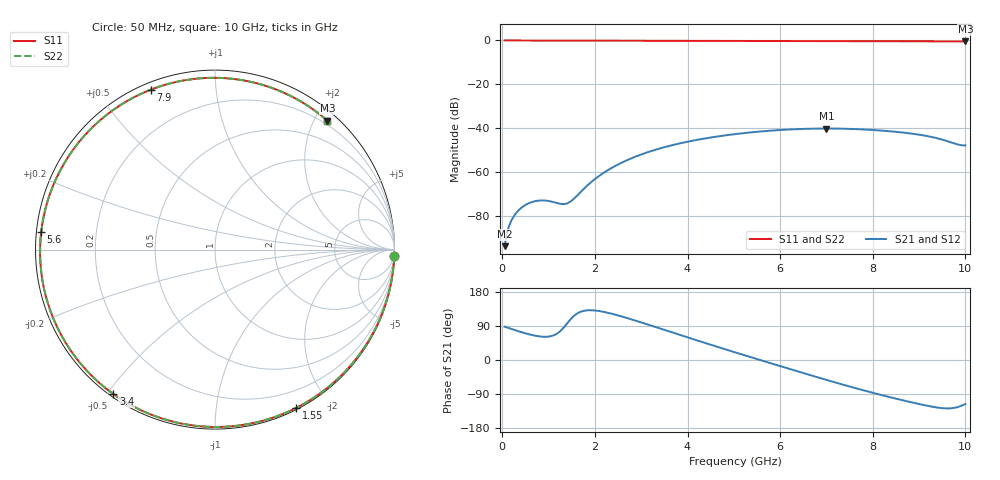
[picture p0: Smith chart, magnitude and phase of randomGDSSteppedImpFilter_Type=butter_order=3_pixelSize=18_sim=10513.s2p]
! freq	dB(S11)	phase(S11)	dB(S12)	phase(S12)
!  dB(S21)	phase(S21)	dB(S22)	phase(S22)
!S-par simulation data
#  GHz  S  DB  R 50
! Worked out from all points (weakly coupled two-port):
!   200 points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, 50 MHz to 10 GHz, reference 50 ohm
!   highest |S21| = -40.20 dB at 7 GHz (marker M1); lowest = -93.9 dB at 50 MHz (marker M2)
!   lowest |S11| = -0.4 dB at 10 GHz (marker M3), VSWR 41.12, Z = 7.09 + j110 ohm
!   |S11| at or under -10 dB: nowhere
!   |S22| runs from -0.4 to 0.0 dB; largest |S21 - S12| = 0
!   S11 on the Smith chart (normalised r, x): 50 MHz: 0, -54; 1.55 GHz: 0.02, -1.64; 3.4 GHz: 0.01, -0.52; 5.6 GHz: 0.01, +0.05; 7.9 GHz: 0.03, +0.68; 10 GHz: 0.14, +2.19
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0.05  -0.00 -2.1  -93.90 87.9  -93.90 87.9  -0.00 -2.1
0.25  -0.01 -10.6  -80.20 79.8  -80.20 79.8  -0.01 -10.6
0.45  -0.02 -18.9  -75.77 72.1  -75.77 72.1  -0.02 -18.9
0.7  -0.04 -29.3  -73.41 64.4  -73.41 64.4  -0.04 -29.3
0.95  -0.05 -39.4  -73.13 61.3  -73.13 61.3  -0.05 -39.4
1.35  -0.07 -55.2  -74.66 88.9  -74.66 88.9  -0.07 -55.2
1.55  -0.08 -62.9  -72.17 116.7  -72.17 116.7  -0.08 -62.9
1.75  -0.08 -70.3  -67.95 129.5  -67.95 129.5  -0.08 -70.3
2.1  -0.10 -83.0  -61.70 129.0  -61.70 129.0  -0.10 -83.0
2.45  -0.11 -95.0  -57.15 119.3  -57.15 119.3  -0.11 -95.0
2.9  -0.12 -109.7  -52.84 103.0  -52.84 103.0  -0.12 -109.7
3.4  -0.14 -125.1  -49.31 83.5  -49.31 83.5  -0.14 -125.2
4.25  -0.17 -149.6  -45.20 50.0  -45.20 50.0  -0.17 -149.6
5.05  -0.21 -171.3  -42.69 19.3  -42.69 19.3  -0.21 -171.3
5.6  -0.23 174.1  -41.51 -1.3  -41.51 -1.3  -0.23 174.1
6.15  -0.26 159.6  -40.69 -21.6  -40.69 -21.6  -0.26 159.6
6.7  -0.29 144.9  -40.26 -41.7  -40.26 -41.7  -0.29 144.9
7  -0.31 136.8  -40.20 -52.5  -40.20 -52.5  -0.31 136.8
7.9  -0.35 111.8  -40.74 -83.3  -40.74 -83.3  -0.35 111.8
8.35  -0.37 98.8  -41.41 -97.5  -41.41 -97.5  -0.37 98.8
9.15  -0.40 75.0  -43.54 -120.1  -43.54 -120.1  -0.40 75.0
10  -0.42 48.9  -47.92 -116.3  -47.92 -116.3  -0.42 48.9
